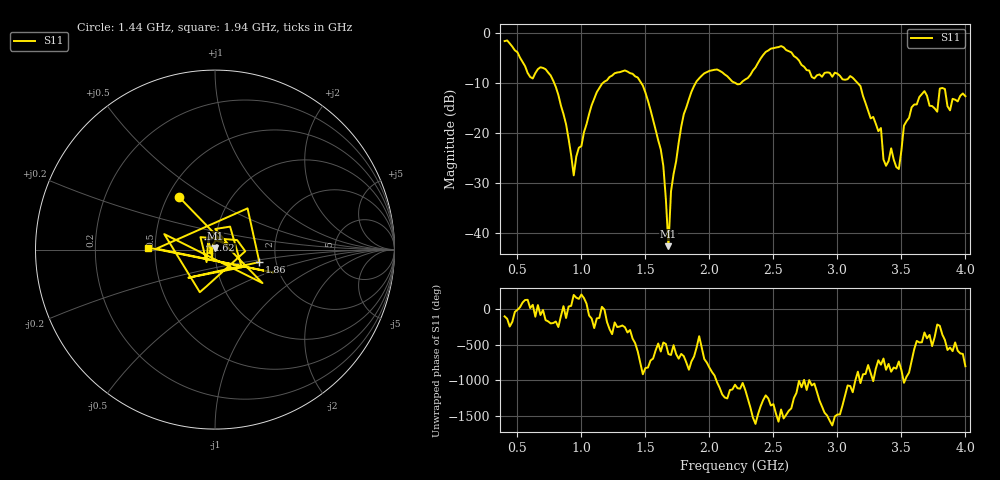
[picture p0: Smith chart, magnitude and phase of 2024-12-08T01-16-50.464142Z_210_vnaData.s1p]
!Created with skrf (http://scikit-rf.org).
# Hz S RI R 50.0
!freq ReS11 ImS11
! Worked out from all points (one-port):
!   181 points, 400 MHz to 4 GHz, reference 50 ohm
!   lowest |S11| = -42.7 dB at 1.68 GHz (marker M1), VSWR 1.01, Z = 50 + j0.731 ohm
!   |S11| at or under -10 dB: 786.1 MHz to 1.171 GHz (384.9 MHz wide, 39.3 % of centre); 1.465 GHz to 1.894 GHz (429 MHz wide, 25.5 % of centre); 3.157 GHz to end of sweep (the widest 3 of 4)
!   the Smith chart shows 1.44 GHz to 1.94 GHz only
!   S11 on the Smith chart (normalised r, x): 1.44 GHz: 0.57, +0.38; 1.62 GHz: 0.92, +0.11; 1.86 GHz: 1.63, -0.24; 1.94 GHz: 0.46, +0.01
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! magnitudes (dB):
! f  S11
! 400 MHz  -1.7
! 760 MHz  -8.6
! 860 MHz  -16.3
! 940 MHz  -28.6
! 1.12 GHz  -11.9
! 1.3 GHz  -7.9
! 1.44 GHz  -9.0
! 1.62 GHz  -23.4
! 1.68 GHz  -42.7
! 1.7 GHz  -31.7
! 1.76 GHz  -22.0
! 1.86 GHz  -11.8
! 1.94 GHz  -8.6
! 2.2 GHz  -10.0
! 2.48 GHz  -3.2
! 2.66 GHz  -4.7
! 3.1 GHz  -8.7
! 3.34 GHz  -19.1
! 3.38 GHz  -26.6
! 3.42 GHz  -23.1
! 3.48 GHz  -27.3
! 3.52 GHz  -18.6
! 3.56 GHz  -17.0
! 3.68 GHz  -11.7
! 3.78 GHz  -15.8
! 3.8 GHz  -11.2
! 3.88 GHz  -15.5
! 4 GHz  -12.7
